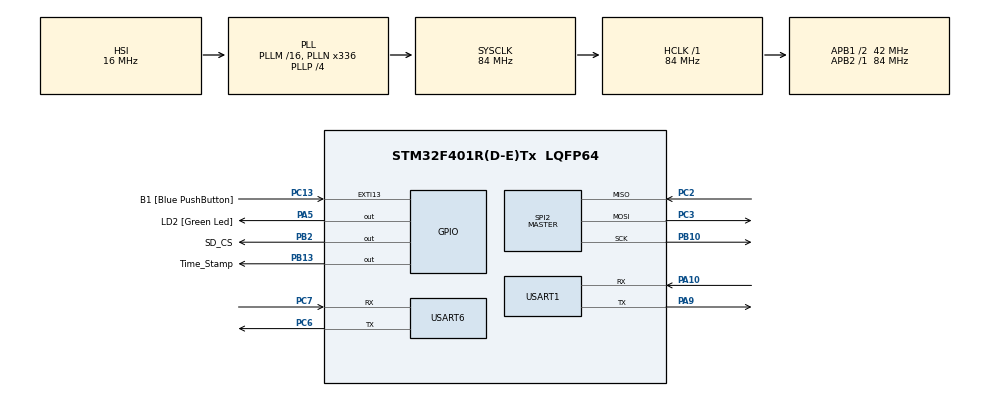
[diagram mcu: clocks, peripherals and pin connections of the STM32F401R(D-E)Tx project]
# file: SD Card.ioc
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Mcu.Family=STM32F4
Mcu.Name=STM32F401R(D-E)Tx
Mcu.Package=LQFP64
NVIC.PriorityGroup=NVIC_PRIORITYGROUP_0
PA10.Mode=Asynchronous
PA10.Signal=USART1_RX
PA13.GPIO_Label=TMS
PA13.Mode=Serial_Wire
PA13.Signal=SYS_JTMS-SWDIO
PA14.GPIO_Label=TCK
PA14.Mode=Serial_Wire
PA14.Signal=SYS_JTCK-SWCLK
PA5.GPIO_Label=LD2 [Green Led]
PA5.GPIO_Mode=GPIO_MODE_OUTPUT_PP
PA5.GPIO_PuPd=GPIO_NOPULL
PA5.GPIO_Speed=GPIO_SPEED_FREQ_LOW
PA5.Signal=GPIO_Output
PA9.Mode=Asynchronous
PA9.Signal=USART1_TX
PB10.Mode=Full_Duplex_Master
PB10.Signal=SPI2_SCK
PB13.GPIO_Label=Time_Stamp
PB13.Signal=GPIO_Output
PB2.GPIO_Label=SD_CS
PB2.Signal=GPIO_Output
PB3.GPIO_Label=SWO
PB3.Signal=SYS_JTDO-SWO
PC13-ANTI_TAMP.GPIO_Label=B1 [Blue PushButton]
PC13-ANTI_TAMP.GPIO_ModeDefaultEXTI=GPIO_MODE_IT_FALLING
PC13-ANTI_TAMP.GPIO_PuPd=GPIO_NOPULL
PC13-ANTI_TAMP.Signal=GPXTI13
PC14-OSC32_IN.Mode=LSE-External-Oscillator
PC14-OSC32_IN.Signal=RCC_OSC32_IN
PC15-OSC32_OUT.Mode=LSE-External-Oscillator
PC15-OSC32_OUT.Signal=RCC_OSC32_OUT
PC2.Mode=Full_Duplex_Master
PC2.Signal=SPI2_MISO
PC3.Mode=Full_Duplex_Master
PC3.Signal=SPI2_MOSI
PC6.Mode=Asynchronous
PC6.Signal=USART6_TX
PC7.Mode=Asynchronous
PC7.Signal=USART6_RX
PH0\ -\ OSC_IN.Mode=HSE-External-Clock-Source
PH0\ -\ OSC_IN.Signal=RCC_OSC_IN
PH1\ -\ OSC_OUT.Mode=HSE-External-Clock-Source
PH1\ -\ OSC_OUT.Signal=RCC_OSC_OUT
ProjectManager.HeapSize=0x200
ProjectManager.StackSize=0x400
ProjectManager.TargetToolchain=STM32CubeIDE
RCC.48MHZClocksFreq_Value=48000000
RCC.AHBFreq_Value=84000000
RCC.APB1CLKDivider=RCC_HCLK_DIV2
RCC.APB1Freq_Value=42000000
RCC.APB1TimFreq_Value=84000000
RCC.APB2Freq_Value=84000000
RCC.APB2TimFreq_Value=84000000
RCC.CortexFreq_Value=84000000
RCC.HCLKFreq_Value=84000000
RCC.HSE_VALUE=8000000
RCC.HSI_VALUE=16000000
RCC.PLLN=336
RCC.PLLP=RCC_PLLP_DIV4
RCC.PLLQ=7
RCC.SYSCLKFreq_VALUE=84000000
RCC.SYSCLKSource=RCC_SYSCLKSOURCE_PLLCLK
RCC.VCOOutputFreq_Value=336000000
SPI2.BaudRatePrescaler=SPI_BAUDRATEPRESCALER_256
SPI2.Direction=SPI_DIRECTION_2LINES
SPI2.Mode=SPI_MODE_MASTER
SPI2.VirtualType=VM_MASTER
USART1.VirtualMode=VM_ASYNC
USART6.VirtualMode=VM_ASYNC
VP_FATFS_VS_Generic.Mode=User_defined
board=NUCLEO-F401RE

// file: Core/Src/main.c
/* USER CODE BEGIN Header */
/**
  ******************************************************************************
  * @file           : main.c
  * @brief          : Main program body
  ******************************************************************************
  * @attention
  *
  * Copyright (c) 2024 STMicroelectronics.
  * All rights reserved.
  *
  * This software is licensed under terms that can be found in the LICENSE file
  * in the root directory of this software component.
  * If no LICENSE file comes with this software, it is provided AS-IS.
  *
  ******************************************************************************
  */
/* USER CODE END Header */
#include "main.h"
#include "fatfs.h"

/* USER CODE BEGIN Includes */
#include <stdio.h>
#include <string.h>
#include <stdarg.h> //for va_list var arg functions
#include "uart.h"
/* USER CODE END Includes */

SPI_HandleTypeDef hspi2;

UART_HandleTypeDef huart1;
UART_HandleTypeDef huart6;

void SystemClock_Config(void);
static void MX_GPIO_Init(void);
static void MX_SPI2_Init(void);
static void MX_USART1_UART_Init(void);
static void MX_USART6_UART_Init(void);

int main(void)
{

  /* MCU Configuration--------------------------------------------------------*/

  /* Reset of all peripherals, Initializes the Flash interface and the Systick. */
  HAL_Init();

  /* Configure the system clock */
  SystemClock_Config();

  /* Initialize all configured peripherals */
  MX_GPIO_Init();
  MX_SPI2_Init();
  MX_FATFS_Init();
  MX_USART1_UART_Init();
  MX_USART6_UART_Init();
  /* USER CODE BEGIN 2 */

  uart_initUart(&huart6);

  /************************************ SD Card *******************************************/

    HAL_Delay(1000); //a short delay is important to let the SD card settle

    //some variables for FatFs
    FATFS FatFs; 	//Fatfs handle
    FIL fil; 		//File handle
    FRESULT fres; //Result after operations
    UINT bytesWrote;

    //Open the file system
    fres = f_mount(&FatFs, "", 1); //1=mount now
    if (fres != FR_OK) {
    	uart_sendUartDebugData("f_mount error (%i)\r\n", fres);
  	while(1);
    }

  //Now let's try and write a file "write.txt"
  fres = f_open(&fil, "logfile.bin", FA_WRITE | FA_CREATE_ALWAYS);
  if(fres == FR_OK) {
	uart_sendUartDebugData("I was able to open 'write.txt' for writing\r\n", fres);
  } else {
	uart_sendUartDebugData("f_mount error (%i)\r\n", fres);
  }

  float data[5120]; //5kB of Data

  for (uint16_t i = 0; i < 5121; i++) {
	  data[i] = 10;
  }

  uart_sendUartDebugData("Now data is ready to be send", 0);

  HAL_GPIO_WritePin(Time_Stamp_GPIO_Port, Time_Stamp_Pin, SET);
//  HAL_Delay(200);
  HAL_GPIO_WritePin(Time_Stamp_GPIO_Port, Time_Stamp_Pin, RESET);

  fres = f_write(&fil, data, sizeof(data), &bytesWrote);
  if(fres == FR_OK) {
	  uart_sendUartDebugData("Wrote %i bytes to 'write.txt'!\r\n", bytesWrote);
  } else {
	  uart_sendUartDebugData("f_write error (%i)\r\n", 0);
  }

  HAL_GPIO_WritePin(Time_Stamp_GPIO_Port, Time_Stamp_Pin, SET);
  HAL_Delay(200);
  HAL_GPIO_WritePin(Time_Stamp_GPIO_Port, Time_Stamp_Pin, RESET);

  //Be a tidy kiwi - don't forget to close your file!
  f_close(&fil);

  //We're done, so de-mount the drive
  f_mount(NULL, "", 0);

  /* USER CODE END 2 */

  /* Infinite loop */
  while (1)
  {

  }
}

void SystemClock_Config(void)
{
  RCC_OscInitTypeDef RCC_OscInitStruct = {0};
  RCC_ClkInitTypeDef RCC_ClkInitStruct = {0};

  /** Configure the main internal regulator output voltage
  */
  __HAL_RCC_PWR_CLK_ENABLE();
  __HAL_PWR_VOLTAGESCALING_CONFIG(PWR_REGULATOR_VOLTAGE_SCALE2);

  /** Initializes the RCC Oscillators according to the specified parameters
  * in the RCC_OscInitTypeDef structure.
  */
  RCC_OscInitStruct.OscillatorType = RCC_OSCILLATORTYPE_HSI;
  RCC_OscInitStruct.HSIState = RCC_HSI_ON;
  RCC_OscInitStruct.HSICalibrationValue = RCC_HSICALIBRATION_DEFAULT;
  RCC_OscInitStruct.PLL.PLLState = RCC_PLL_ON;
  RCC_OscInitStruct.PLL.PLLSource = RCC_PLLSOURCE_HSI;
  RCC_OscInitStruct.PLL.PLLM = 16;
  RCC_OscInitStruct.PLL.PLLN = 336;
  RCC_OscInitStruct.PLL.PLLP = RCC_PLLP_DIV4;
  RCC_OscInitStruct.PLL.PLLQ = 7;
  if (HAL_RCC_OscConfig(&RCC_OscInitStruct) != HAL_OK)
  {
    Error_Handler();
  }

  /** Initializes the CPU, AHB and APB buses clocks
  */
  RCC_ClkInitStruct.ClockType = RCC_CLOCKTYPE_HCLK|RCC_CLOCKTYPE_SYSCLK
                              |RCC_CLOCKTYPE_PCLK1|RCC_CLOCKTYPE_PCLK2;
  RCC_ClkInitStruct.SYSCLKSource = RCC_SYSCLKSOURCE_PLLCLK;
  RCC_ClkInitStruct.AHBCLKDivider = RCC_SYSCLK_DIV1;
  RCC_ClkInitStruct.APB1CLKDivider = RCC_HCLK_DIV2;
  RCC_ClkInitStruct.APB2CLKDivider = RCC_HCLK_DIV1;

  if (HAL_RCC_ClockConfig(&RCC_ClkInitStruct, FLASH_LATENCY_2) != HAL_OK)
  {
    Error_Handler();
  }
}

static void MX_SPI2_Init(void)
{

  /* SPI2 parameter configuration*/
  hspi2.Instance = SPI2;
  hspi2.Init.Mode = SPI_MODE_MASTER;
  hspi2.Init.Direction = SPI_DIRECTION_2LINES;
  hspi2.Init.DataSize = SPI_DATASIZE_8BIT;
  hspi2.Init.CLKPolarity = SPI_POLARITY_LOW;
  hspi2.Init.CLKPhase = SPI_PHASE_1EDGE;
  hspi2.Init.NSS = SPI_NSS_SOFT;
  hspi2.Init.BaudRatePrescaler = SPI_BAUDRATEPRESCALER_256;
  hspi2.Init.FirstBit = SPI_FIRSTBIT_MSB;
  hspi2.Init.TIMode = SPI_TIMODE_DISABLE;
  hspi2.Init.CRCCalculation = SPI_CRCCALCULATION_DISABLE;
  hspi2.Init.CRCPolynomial = 10;
  if (HAL_SPI_Init(&hspi2) != HAL_OK)
  {
    Error_Handler();
  }

}

static void MX_USART1_UART_Init(void)
{

  huart1.Instance = USART1;
  huart1.Init.BaudRate = 115200;
  huart1.Init.WordLength = UART_WORDLENGTH_8B;
  huart1.Init.StopBits = UART_STOPBITS_1;
  huart1.Init.Parity = UART_PARITY_NONE;
  huart1.Init.Mode = UART_MODE_TX_RX;
  huart1.Init.HwFlowCtl = UART_HWCONTROL_NONE;
  huart1.Init.OverSampling = UART_OVERSAMPLING_16;
  if (HAL_UART_Init(&huart1) != HAL_OK)
  {
    Error_Handler();
  }

}

static void MX_USART6_UART_Init(void)
{

  huart6.Instance = USART6;
  huart6.Init.BaudRate = 115200;
  huart6.Init.WordLength = UART_WORDLENGTH_8B;
  huart6.Init.StopBits = UART_STOPBITS_1;
  huart6.Init.Parity = UART_PARITY_NONE;
  huart6.Init.Mode = UART_MODE_TX_RX;
  huart6.Init.HwFlowCtl = UART_HWCONTROL_NONE;
  huart6.Init.OverSampling = UART_OVERSAMPLING_16;
  if (HAL_UART_Init(&huart6) != HAL_OK)
  {
    Error_Handler();
  }

}

static void MX_GPIO_Init(void)
{
  GPIO_InitTypeDef GPIO_InitStruct = {0};

  /* GPIO Ports Clock Enable */
  __HAL_RCC_GPIOC_CLK_ENABLE();
  __HAL_RCC_GPIOH_CLK_ENABLE();
  __HAL_RCC_GPIOA_CLK_ENABLE();
  __HAL_RCC_GPIOB_CLK_ENABLE();

  /*Configure GPIO pin Output Level */
  HAL_GPIO_WritePin(LD2_GPIO_Port, LD2_Pin, GPIO_PIN_RESET);

  /*Configure GPIO pin Output Level */
  HAL_GPIO_WritePin(GPIOB, SD_CS_Pin|Time_Stamp_Pin, GPIO_PIN_RESET);

  /*Configure GPIO pin : B1_Pin */
  GPIO_InitStruct.Pin = B1_Pin;
  GPIO_InitStruct.Mode = GPIO_MODE_IT_FALLING;
  GPIO_InitStruct.Pull = GPIO_NOPULL;
  HAL_GPIO_Init(B1_GPIO_Port, &GPIO_InitStruct);

  /*Configure GPIO pin : LD2_Pin */
  GPIO_InitStruct.Pin = LD2_Pin;
  GPIO_InitStruct.Mode = GPIO_MODE_OUTPUT_PP;
  GPIO_InitStruct.Pull = GPIO_NOPULL;
  GPIO_InitStruct.Speed = GPIO_SPEED_FREQ_LOW;
  HAL_GPIO_Init(LD2_GPIO_Port, &GPIO_InitStruct);

  /*Configure GPIO pins : SD_CS_Pin Time_Stamp_Pin */
  GPIO_InitStruct.Pin = SD_CS_Pin|Time_Stamp_Pin;
  GPIO_InitStruct.Mode = GPIO_MODE_OUTPUT_PP;
  GPIO_InitStruct.Pull = GPIO_NOPULL;
  GPIO_InitStruct.Speed = GPIO_SPEED_FREQ_LOW;
  HAL_GPIO_Init(GPIOB, &GPIO_InitStruct);

}

/* USER CODE BEGIN 4 */
void myprintf(const char *fmt, ...) {
  static char buffer[256];
  va_list args;
  va_start(args, fmt);
  vsnprintf(buffer, sizeof(buffer), fmt, args);
  va_end(args);

  int len = strlen(buffer);
  HAL_UART_Transmit(&huart6, (uint8_t*)buffer, len, -1);

}
/* USER CODE END 4 */

void Error_Handler(void)
{
  __disable_irq();
  while (1)
  {
  }
}
